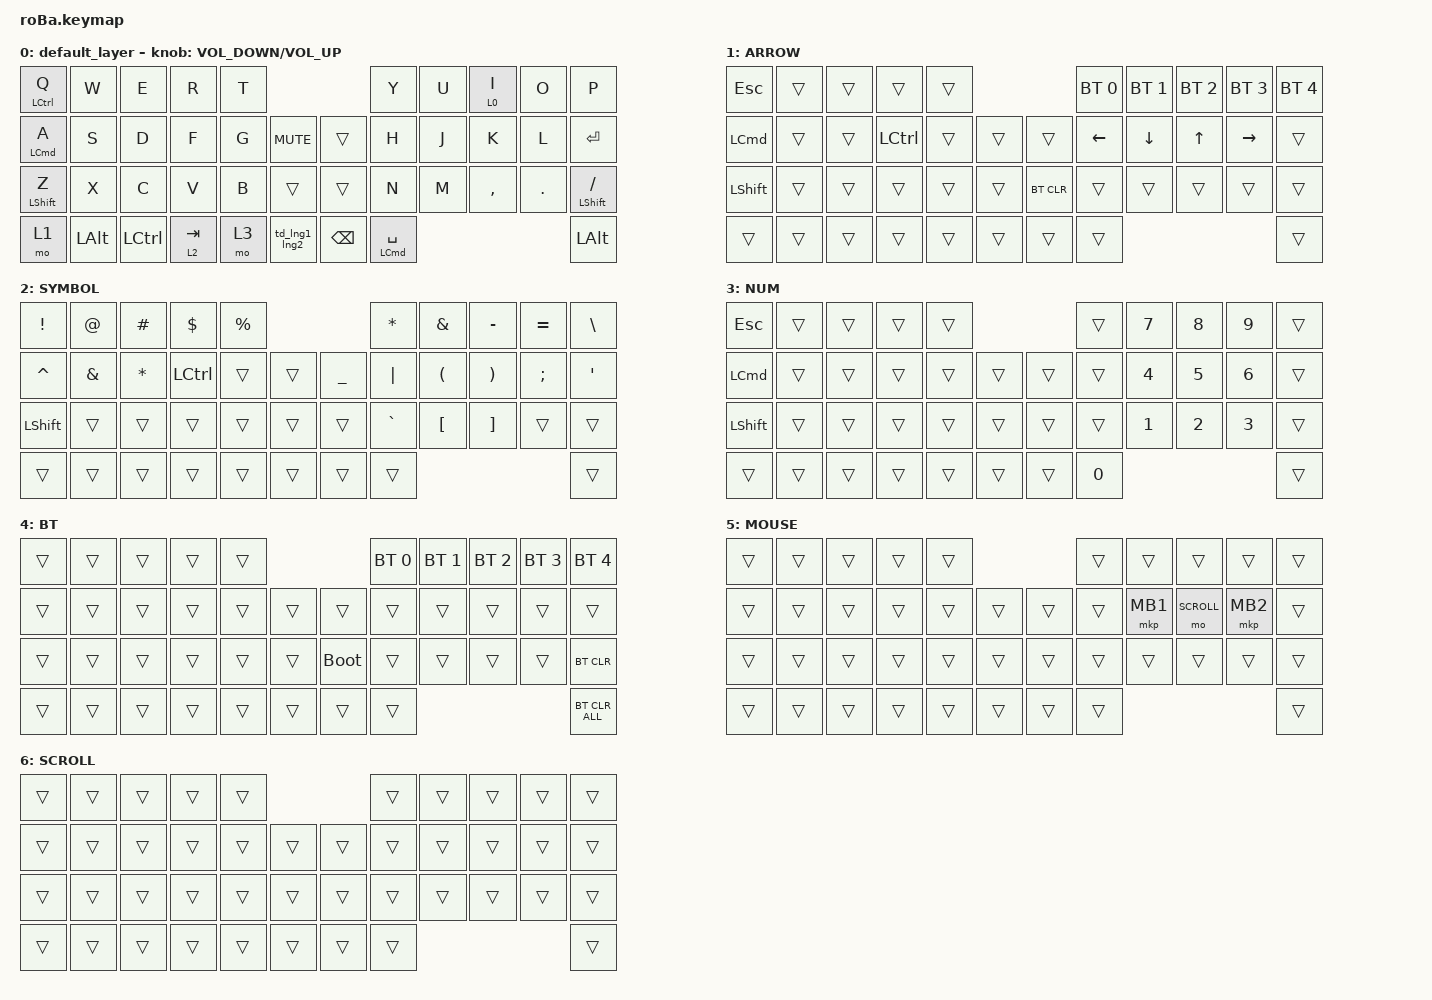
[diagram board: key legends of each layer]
#include <behaviors.dtsi>
#include <dt-bindings/zmk/bt.h>
#include <dt-bindings/zmk/keys.h>
#include <dt-bindings/zmk/pointing.h>

#define ARROW 1
#define SYMBOL 2
#define NUM 3
#define BT 4
#define MOUSE 5
#define SCROLL 6

&mt {
    flavor = "tap-preferred";
    tapping-term-ms = <200>;
    quick-tap-ms = <150>;
    require-prior-idle-ms = <125>;
};

/ {
    combos {
        compatible = "zmk,combos";

        combo_esc {
            timeout-ms = <50>;
            key-positions = <0 1>;
            bindings = <&kp ESC>;
        };
    };

    macros {
        to_layer_0: to_layer_0 {
            compatible = "zmk,behavior-macro-one-param";
            #binding-cells = <1>;
            bindings = <&to 0 &macro_param_1to1 &kp MACRO_PLACEHOLDER>;
            label = "TO_LAYER_0";
        };
    };

    behaviors {
        td_lng1_lng2: td_lng1_lng2 {
            compatible = "zmk,behavior-tap-dance";
            #binding-cells = <0>;
            tapping-term-ms = <200>;
            bindings = <&kp LANG1>, <&kp LANG2>;

            label = "TD_LNG1_LNG2";
        };
    };

    keymap {
        compatible = "zmk,keymap";

        default_layer {
            bindings = <
&mt LCTRL Q         &kp W         &kp E      &kp R      &kp T                                    &kp Y                   &kp U  &lt 0 I    &kp O    &kp P
&mt LEFT_COMMAND A  &kp S         &kp D      &kp F      &kp G  &kp K_MUTE         &trans         &kp H                   &kp J  &kp K      &kp L    &kp ENTER
&mt LEFT_SHIFT Z    &kp X         &kp C      &kp V      &kp B  &trans             &trans         &kp N                   &kp M  &kp COMMA  &kp DOT  &mt LEFT_SHIFT SLASH
&mo 1               &kp LEFT_ALT  &kp LCTRL  &lt 2 TAB  &mo 3  &td_lng1_lng2      &kp BACKSPACE  &mt LEFT_COMMAND SPACE                             &kp LEFT_ALT
            >;

            sensor-bindings = <&inc_dec_kp C_VOLUME_DOWN C_VOLUME_UP>;
        };

        ARROW {
            bindings = <
&kp ESC           &trans  &trans  &trans     &trans                          &bt BT_SEL 0  &bt BT_SEL 1  &bt BT_SEL 2  &bt BT_SEL 3  &bt BT_SEL 4
&kp LEFT_COMMAND  &trans  &trans  &kp LCTRL  &trans  &trans      &trans      &kp LEFT      &kp DOWN      &kp UP_ARROW  &kp RIGHT     &trans
&kp LSHIFT        &trans  &trans  &trans     &trans  &trans      &bt BT_CLR  &trans        &trans        &trans        &trans        &trans
&trans            &trans  &trans  &trans     &trans  &trans      &trans      &trans                                                  &trans
            >;
        };

        SYMBOL {
            bindings = <
&kp EXCL        &kp AT    &kp HASH   &kp DLLR   &kp PRCNT                              &kp ASTERISK  &kp AMPERSAND         &kp MINUS              &kp EQUAL  &kp BSLH
&kp CARET       &kp AMPS  &kp ASTRK  &kp LCTRL  &trans     &trans      &kp UNDERSCORE  &kp PIPE      &kp LEFT_PARENTHESIS  &kp RIGHT_PARENTHESIS  &kp SEMI   &kp SQT
&kp LEFT_SHIFT  &trans    &trans     &trans     &trans     &trans      &trans          &kp GRAVE     &kp LEFT_BRACKET      &kp RIGHT_BRACKET      &trans     &trans
&trans          &trans    &trans     &trans     &trans     &trans      &trans          &trans                                                                &trans
            >;
        };

        NUM {
            bindings = <
&kp ESC           &trans  &trans  &trans  &trans                      &trans  &kp N7        &kp N8        &kp N9        &trans
&kp LEFT_COMMAND  &trans  &trans  &trans  &trans  &trans      &trans  &trans  &kp NUMBER_4  &kp N5        &kp NUMBER_6  &trans
&kp LSHIFT        &trans  &trans  &trans  &trans  &trans      &trans  &trans  &kp NUMBER_1  &kp NUMBER_2  &kp NUMBER_3  &trans
&trans            &trans  &trans  &trans  &trans  &trans      &trans  &kp N0                                            &trans
            >;
        };

        BT {
            bindings = <
&trans  &trans  &trans  &trans  &trans                           &bt BT_SEL 0  &bt BT_SEL 1  &bt BT_SEL 2  &bt BT_SEL 3  &bt BT_SEL 4
&trans  &trans  &trans  &trans  &trans  &trans      &trans       &trans        &trans        &trans        &trans        &trans
&trans  &trans  &trans  &trans  &trans  &trans      &bootloader  &trans        &trans        &trans        &trans        &bt BT_CLR
&trans  &trans  &trans  &trans  &trans  &trans      &trans       &trans                                                  &bt BT_CLR_ALL
            >;
        };

        MOUSE {
            bindings = <
&trans  &trans  &trans  &trans  &trans                      &trans  &trans    &trans      &trans    &trans
&trans  &trans  &trans  &trans  &trans  &trans      &trans  &trans  &mkp MB1  &mo SCROLL  &mkp MB2  &trans
&trans  &trans  &trans  &trans  &trans  &trans      &trans  &trans  &trans    &trans      &trans    &trans
&trans  &trans  &trans  &trans  &trans  &trans      &trans  &trans                                  &trans
            >;
        };

        SCROLL {
            bindings = <
&trans  &trans  &trans  &trans  &trans                      &trans  &trans  &trans  &trans  &trans
&trans  &trans  &trans  &trans  &trans  &trans      &trans  &trans  &trans  &trans  &trans  &trans
&trans  &trans  &trans  &trans  &trans  &trans      &trans  &trans  &trans  &trans  &trans  &trans
&trans  &trans  &trans  &trans  &trans  &trans      &trans  &trans                          &trans
            >;
        };
    };
};
